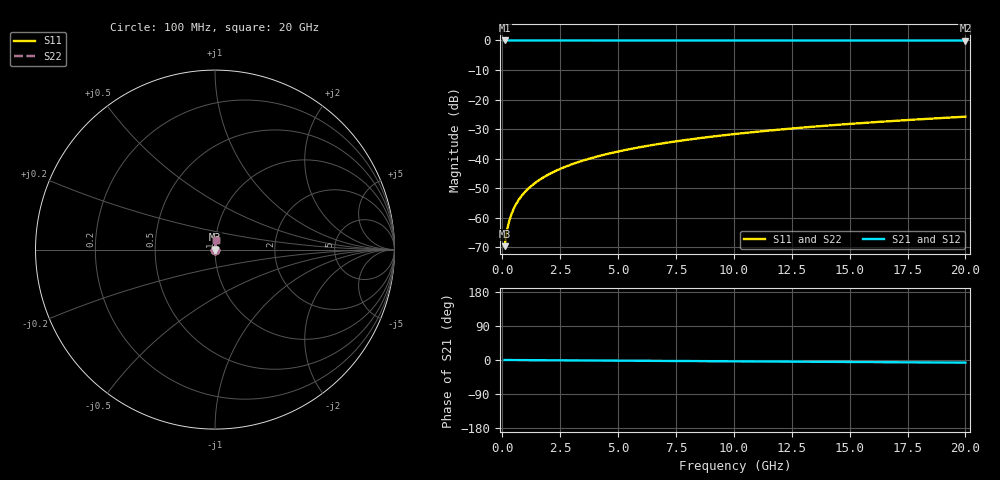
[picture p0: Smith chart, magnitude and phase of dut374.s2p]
! Touchstone file exported from HFSS 2026.1.0
!  File:  C:/ffzhzh/LocalFiles/Ansys_Project_Files/temp_train_TSV_374_1783019646_55676.aedt
!  Generated:  03:15:54 AM Jul  3, 2026
!  Design:  TSV
!  Project:  temp_train_TSV_374_1783019646_55676
! Variables:
!  h_bsmrdl = 2um
!  h_ox = 20um
!  h_rdl = 5um
!  h_sub = 55.88um
!  h_tmrdl = 5um
!  h_tsv = 55.88um
!  h_via = 3um
!  l_bsmrdl = 300um
!  l_sub = 414.5um
!  l_tmrdl = 200um
!  m_sub = 200um
!  pitch = 52.2um
!  r_tsv = 7.25um
!  s_tmrdl = 10um
!  w_bsmrdl = 18um
!  w_sub = 500um
!  w_tmrdl = 12um
!  x_tsv_center1 = 206um
!  x_tsv_center2 = 524um
!  x_tsv_center3 = 736um
!  x_tsv_center4 = 1054um
!  x_tsv_center5 = 1266um
!  x_tsv_center6 = 1584um
# GHz S MA R 50.000000
! Terminal data exported
! Port[1] = TSV1_1_T1
! Port[2] = TSV1_1_T2
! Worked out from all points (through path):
!   200 points, 100 MHz to 20 GHz, reference 50 ohm
!   highest |S21| = 0.00 dB at 100 MHz (marker M1); lowest = 0.0 dB at 20 GHz (marker M2)
!   lowest |S11| = -69.6 dB at 100 MHz (marker M3), VSWR 1.00, Z = 50 + j0.029 ohm
!   |S11| at or under -10 dB: start of sweep to end of sweep
!   |S22| runs from -69.6 to -25.8 dB; largest |S21 - S12| = 3.1e-15
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0.1  0.0003293 61.6  0.9998 -0.0  0.9998 -0.0  0.0003293 61.6
! Gamma 0 0 0 0
! Port Impedance 50 0 50 0
0.2  0.0006007 74.0  0.9998 -0.1  0.9998 -0.1  0.0006007 74.0
0.3  0.0008805 78.3  0.9998 -0.1  0.9998 -0.1  0.0008805 78.3
0.4  0.001159 80.3  0.9998 -0.1  0.9998 -0.1  0.001159 80.3
0.5  0.001436 81.4  0.9998 -0.2  0.9998 -0.2  0.001436 81.4
0.6  0.001708 82.2  0.9998 -0.2  0.9998 -0.2  0.001708 82.2
0.7  0.001979 82.7  0.9998 -0.3  0.9998 -0.3  0.001979 82.7
0.8  0.002246 83.1  0.9997 -0.3  0.9997 -0.3  0.002246 83.1
1  0.002777 83.7  0.9997 -0.4  0.9997 -0.4  0.002777 83.7
1.4  0.003827 84.5  0.9997 -0.5  0.9997 -0.5  0.003827 84.5
1.7  0.004611 85.0  0.9996 -0.6  0.9996 -0.6  0.004611 85.0
2  0.005395 85.2  0.9996 -0.7  0.9996 -0.7  0.005395 85.2
2.7  0.007221 85.6  0.9995 -1.0  0.9995 -1.0  0.007221 85.6
3.5  0.009301 85.8  0.9995 -1.2  0.9995 -1.2  0.009301 85.8
4.2  0.01111 85.8  0.9994 -1.5  0.9994 -1.5  0.01111 85.8
5  0.01318 85.7  0.9993 -1.8  0.9993 -1.8  0.01318 85.7
6.8  0.0178 85.4  0.9992 -2.4  0.9992 -2.4  0.0178 85.4
8.3  0.02164 85.1  0.999 -2.9  0.999 -2.9  0.02164 85.1
10.1  0.02622 84.7  0.9988 -3.5  0.9988 -3.5  0.02622 84.7
13.4  0.03461 83.8  0.9985 -4.7  0.9985 -4.7  0.03461 83.8
16.7  0.04295 82.8  0.998 -5.8  0.998 -5.8  0.04295 82.8
20  0.05124 81.7  0.9975 -6.9  0.9975 -6.9  0.05124 81.7
